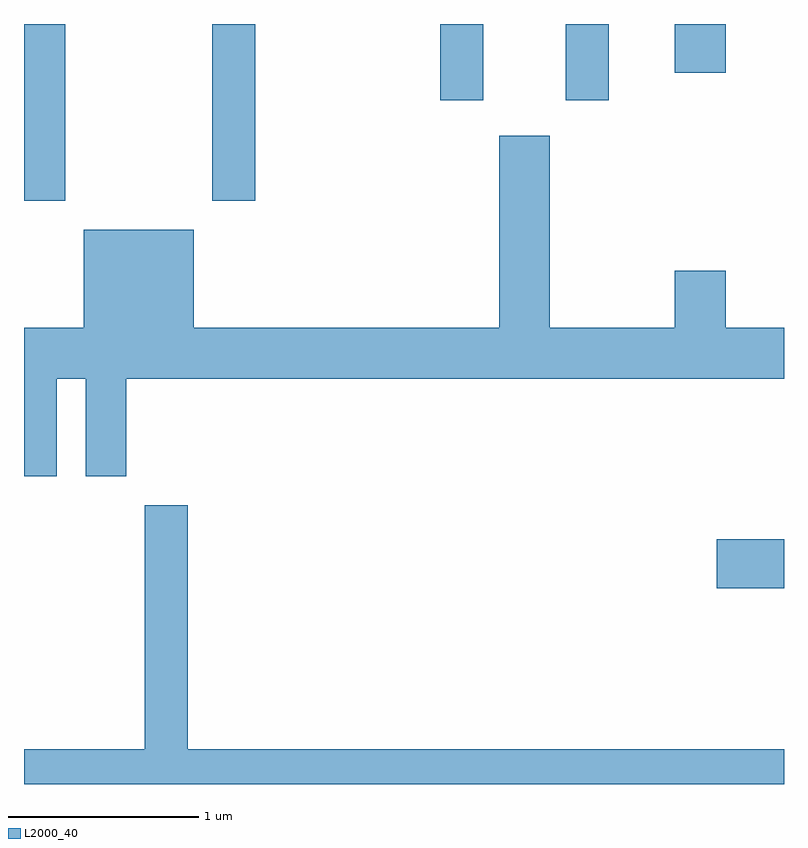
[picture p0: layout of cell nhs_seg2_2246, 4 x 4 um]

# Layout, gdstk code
import gdstk
lib = gdstk.Library(unit=1e-6, precision=1e-09)
def R(c, l, rs):  # rectangles x0, y0, x1, y1
    for r in rs: c.add(gdstk.rectangle(r[:2], r[2:], *l))
def P(c, l, *ps):  # polygons
    for p in ps: c.add(gdstk.Polygon(p, *l))
L2000_40 = (2000, 40)

nhs_seg2_2246 = lib.new_cell('nhs_seg2_2246')
R(nhs_seg2_2246, L2000_40, [(255.256,982.831,255.611,983.089), (251.611,984.871,251.829,985.802), (252.601,984.871,252.829,985.802), (253.801,985.401,254.029,985.802), (254.461,985.401,254.689,985.802), (255.036,985.546,255.304,985.802)])
P(nhs_seg2_2246, L2000_40, [(251.784,983.936),(251.936,983.936),(251.936,983.421),(252.149,983.421),(252.149,983.936),(255.611,983.936),(255.611,984.204),(255.304,984.204),(255.304,984.504),(255.036,984.504),(255.036,984.204),(254.379,984.204),(254.379,985.214),(254.111,985.214),(254.111,984.204),(252.504,984.204),(252.504,984.719),(251.926,984.719),(251.926,984.204),(251.611,984.204),(251.611,983.421),(251.784,983.421)],
  [(255.611,981.984),(252.474,981.984),(252.474,983.269),(252.246,983.269),(252.246,981.984),(251.611,981.984),(251.611,981.802),(255.611,981.802)])

lib.write_gds('nhs_seg2_2246.gds')
